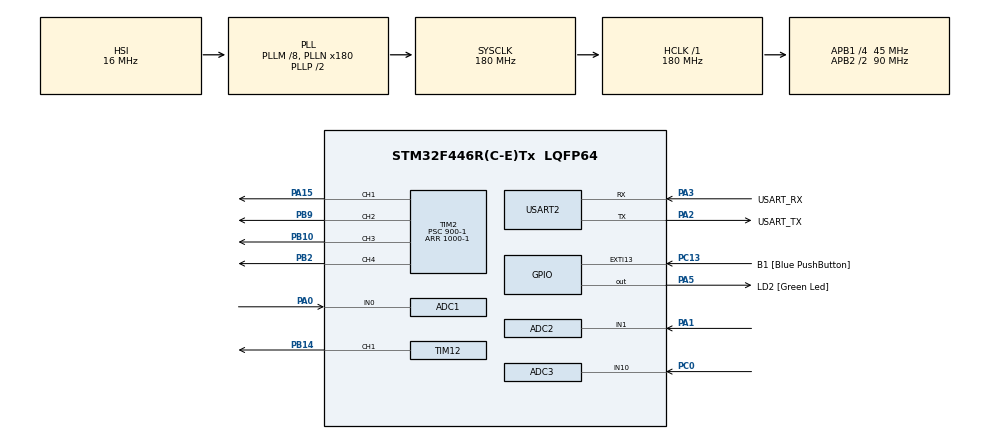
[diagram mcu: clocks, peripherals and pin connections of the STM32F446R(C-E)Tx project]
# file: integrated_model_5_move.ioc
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ADC1.Channel-0\#ChannelRegularConversion=ADC_CHANNEL_0
ADC1.ClockPrescaler=ADC_CLOCK_SYNC_PCLK_DIV4
ADC1.NbrOfConversionFlag=1
ADC1.Rank-0\#ChannelRegularConversion=1
ADC1.SamplingTime-0\#ChannelRegularConversion=ADC_SAMPLETIME_3CYCLES
ADC1.master=1
ADC2.Channel-0\#ChannelRegularConversion=ADC_CHANNEL_1
ADC2.ClockPrescaler=ADC_CLOCK_SYNC_PCLK_DIV4
ADC2.NbrOfConversionFlag=1
ADC2.Rank-0\#ChannelRegularConversion=1
ADC2.SamplingTime-0\#ChannelRegularConversion=ADC_SAMPLETIME_3CYCLES
ADC3.Channel-0\#ChannelRegularConversion=ADC_CHANNEL_10
ADC3.ClockPrescaler=ADC_CLOCK_SYNC_PCLK_DIV4
ADC3.NbrOfConversionFlag=1
ADC3.Rank-0\#ChannelRegularConversion=1
ADC3.SamplingTime-0\#ChannelRegularConversion=ADC_SAMPLETIME_3CYCLES
Mcu.Family=STM32F4
Mcu.Name=STM32F446R(C-E)Tx
Mcu.Package=LQFP64
NVIC.ADC_IRQn=true\:0\:0\:false\:false\:true\:true\:true\:true
NVIC.PriorityGroup=NVIC_PRIORITYGROUP_0
NVIC.TIM1_TRG_COM_TIM11_IRQn=true\:0\:0\:false\:false\:true\:true\:true\:true
NVIC.TIM1_UP_TIM10_IRQn=true\:0\:0\:false\:false\:true\:true\:true\:true
NVIC.TIM2_IRQn=true\:0\:0\:false\:false\:true\:true\:true\:true
NVIC.TIM8_BRK_TIM12_IRQn=true\:0\:0\:false\:false\:true\:true\:true\:true
NVIC.TIM8_TRG_COM_TIM14_IRQn=true\:0\:0\:false\:false\:true\:true\:true\:true
NVIC.TIM8_UP_TIM13_IRQn=true\:0\:0\:false\:false\:true\:true\:true\:true
PA0-WKUP.Signal=ADCx_IN0
PA1.Signal=ADCx_IN1
PA13.GPIO_Label=TMS
PA13.Mode=Serial_Wire
PA13.Signal=SYS_JTMS-SWDIO
PA14.GPIO_Label=TCK
PA14.Mode=Serial_Wire
PA14.Signal=SYS_JTCK-SWCLK
PA15.Signal=S_TIM2_CH1_ETR
PA2.GPIO_Label=USART_TX
PA2.Mode=Asynchronous
PA2.Signal=USART2_TX
PA3.GPIO_Label=USART_RX
PA3.Mode=Asynchronous
PA3.Signal=USART2_RX
PA5.GPIO_Label=LD2 [Green Led]
PA5.Signal=GPIO_Output
PB10.Signal=S_TIM2_CH3
PB14.Signal=S_TIM12_CH1
PB2.Signal=S_TIM2_CH4
PB3.GPIO_Label=SWO
PB3.Signal=SYS_JTDO-SWO
PB9.Signal=S_TIM2_CH2
PC0.Signal=ADCx_IN10
PC13.GPIO_Label=B1 [Blue PushButton]
PC13.GPIO_ModeDefaultEXTI=GPIO_MODE_IT_FALLING
PC13.Signal=GPXTI13
PC14-OSC32_IN.Mode=LSE-External-Oscillator
PC14-OSC32_IN.Signal=RCC_OSC32_IN
PC15-OSC32_OUT.Mode=LSE-External-Oscillator
PC15-OSC32_OUT.Signal=RCC_OSC32_OUT
PH0-OSC_IN.Mode=HSE-External-Oscillator
PH0-OSC_IN.Signal=RCC_OSC_IN
PH1-OSC_OUT.Mode=HSE-External-Oscillator
PH1-OSC_OUT.Signal=RCC_OSC_OUT
ProjectManager.HeapSize=0x800
ProjectManager.StackSize=0x800
ProjectManager.TargetToolchain=STM32CubeIDE
RCC.48MHZClocksFreq_Value=84000000
RCC.AHBFreq_Value=180000000
RCC.APB1CLKDivider=RCC_HCLK_DIV4
RCC.APB1Freq_Value=45000000
RCC.APB1TimFreq_Value=90000000
RCC.APB2CLKDivider=RCC_HCLK_DIV2
RCC.APB2Freq_Value=90000000
RCC.APB2TimFreq_Value=180000000
RCC.CortexFreq_Value=180000000
RCC.FLatency-AdvancedSettings=FLASH_LATENCY_5
RCC.HCLKFreq_Value=180000000
RCC.HSE_VALUE=8000000
RCC.HSI_VALUE=16000000
RCC.PLLM=8
RCC.PLLN=180
RCC.PLLP=2
RCC.SYSCLKFreq_VALUE=180000000
RCC.SYSCLKSource=RCC_SYSCLKSOURCE_PLLCLK
RCC.USBFreq_Value=180000000
RCC.VCOOutputFreq_Value=360000000
SH.ADCx_IN0.0=ADC1_IN0,IN0
SH.ADCx_IN1.0=ADC2_IN1,IN1
SH.ADCx_IN10.0=ADC3_IN10,IN10
SH.S_TIM12_CH1.0=TIM12_CH1,PWM Generation1 CH1
SH.S_TIM2_CH1_ETR.0=TIM2_CH1,PWM Generation1 CH1
SH.S_TIM2_CH2.0=TIM2_CH2,PWM Generation2 CH2
SH.S_TIM2_CH3.0=TIM2_CH3,PWM Generation3 CH3
SH.S_TIM2_CH4.0=TIM2_CH4,PWM Generation4 CH4
STMicroelectronics.X-CUBE-AI.8.0.1.ActivationBufferSizeList=108
STMicroelectronics.X-CUBE-AI.8.0.1.ActivationBuffers=pool0
STMicroelectronics.X-CUBE-AI.8.0.1.ActivationNames=pool0
STMicroelectronics.X-CUBE-AI.8.0.1.ActivationSizes=AI_NETWORK_DATA_ACTIVATION_1_SIZE
STMicroelectronics.X-CUBE-AI.8.0.1.HeapSize=0x800
STMicroelectronics.X-CUBE-AI.8.0.1.InternalRamActivationBufferMaxSize=AI_NETWORK_DATA_ACTIVATIONS_SIZE
STMicroelectronics.X-CUBE-AI.8.0.1.LatestDirectoryUsed-d0ceae4381f5af6d3a112abc9d57ed1af1215f2bdab2fd25595786534e137b8e=F\:\\Graduation Project\\Git_foulder\\5_Movements\\Model
STMicroelectronics.X-CUBE-AI.8.0.1.MaximumNumberOfInputLayer=1
STMicroelectronics.X-CUBE-AI.8.0.1.MaximumNumberOfOutputLayer=1
STMicroelectronics.X-CUBE-AI.8.0.1.MaximumSizeOfInputLayer=1
STMicroelectronics.X-CUBE-AI.8.0.1.MaximumSizeOfOutputLayer=1
STMicroelectronics.X-CUBE-AI.8.0.1.ModelActualCompression-d0ceae4381f5af6d3a112abc9d57ed1af1215f2bdab2fd25595786534e137b8e=0.0
STMicroelectronics.X-CUBE-AI.8.0.1.ModelCompression-d0ceae4381f5af6d3a112abc9d57ed1af1215f2bdab2fd25595786534e137b8e=None
STMicroelectronics.X-CUBE-AI.8.0.1.ModelFlashOccupation-d0ceae4381f5af6d3a112abc9d57ed1af1215f2bdab2fd25595786534e137b8e=32360
STMicroelectronics.X-CUBE-AI.8.0.1.ModelHashList=d0ceae4381f5af6d3a112abc9d57ed1af1215f2bdab2fd25595786534e137b8e
STMicroelectronics.X-CUBE-AI.8.0.1.ModelKind-d0ceae4381f5af6d3a112abc9d57ed1af1215f2bdab2fd25595786534e137b8e=KERAS
STMicroelectronics.X-CUBE-AI.8.0.1.ModelMacc-d0ceae4381f5af6d3a112abc9d57ed1af1215f2bdab2fd25595786534e137b8e=510
STMicroelectronics.X-CUBE-AI.8.0.1.ModelName-d0ceae4381f5af6d3a112abc9d57ed1af1215f2bdab2fd25595786534e137b8e=network
STMicroelectronics.X-CUBE-AI.8.0.1.ModelNameList=network
STMicroelectronics.X-CUBE-AI.8.0.1.ModelRamOccupation-d0ceae4381f5af6d3a112abc9d57ed1af1215f2bdab2fd25595786534e137b8e=108
STMicroelectronics.X-CUBE-AI.8.0.1.ModelStructureFile-d0ceae4381f5af6d3a112abc9d57ed1af1215f2bdab2fd25595786534e137b8e=F\:\\Graduation Project\\Git_foulder\\5_Movements\\Model\\model_11_7_2_5_movement_2.h5
STMicroelectronics.X-CUBE-AI.8.0.1.ModelType-d0ceae4381f5af6d3a112abc9d57ed1af1215f2bdab2fd25595786534e137b8e=Saved model
STMicroelectronics.X-CUBE-AI.8.0.1.ReadyForCodeGeneration=true
STMicroelectronics.X-CUBE-AI.8.0.1.StackSize=0x800
STMicroelectronics.X-CUBE-AI.8.0.1.WorkingBufferStartAddrList=0xFFFFFFFF
STMicroelectronics.X-CUBE-AI.8.0.1.XAaCUBEAaAICcArtificialOoIntelligenceJjCore=true
STMicroelectronics.X-CUBE-AI.8.0.1.copyWeightToRam=false
STMicroelectronics.X-CUBE-AI.8.0.1.copyWeightToRam-d0ceae4381f5af6d3a112abc9d57ed1af1215f2bdab2fd25595786534e137b8e=false
STMicroelectronics.X-CUBE-AI.8.0.1.customLayerConfigEnabled=false
STMicroelectronics.X-CUBE-AI.8.0.1.customLayerConfigEnabled-d0ceae4381f5af6d3a112abc9d57ed1af1215f2bdab2fd25595786534e137b8e=false
STMicroelectronics.X-CUBE-AI.8.0.1.useInputAllocation=true
STMicroelectronics.X-CUBE-AI.8.0.1.useInputAllocation-d0ceae4381f5af6d3a112abc9d57ed1af1215f2bdab2fd25595786534e137b8e=true
STMicroelectronics.X-CUBE-AI.8.0.1.useOutputAllocation=true
STMicroelectronics.X-CUBE-AI.8.0.1.useOutputAllocation-d0ceae4381f5af6d3a112abc9d57ed1af1215f2bdab2fd25595786534e137b8e=true
TIM12.Channel-PWM\ Generation1\ CH1=TIM_CHANNEL_1
TIM12.Period=1000-1
TIM12.Prescaler=900-1
TIM2.Channel-PWM\ Generation1\ CH1=TIM_CHANNEL_1
TIM2.Channel-PWM\ Generation2\ CH2=TIM_CHANNEL_2
TIM2.Channel-PWM\ Generation3\ CH3=TIM_CHANNEL_3
TIM2.Channel-PWM\ Generation4\ CH4=TIM_CHANNEL_4
TIM2.Period=1000-1
TIM2.Prescaler=900-1
USART2.VirtualMode=VM_ASYNC
VP_CRC_VS_CRC.Mode=CRC_Activate
VP_STMicroelectronics.X-CUBE-AI_VS_ArtificialOoIntelligenceJjXAaCUBEAaAI_8.0.1.Mode=ArtificialOoIntelligenceJjXAaCUBEAaAI
VP_TIM10_VS_ClockSourceINT.Mode=Enable_Timer
VP_TIM11_VS_ClockSourceINT.Mode=Enable_Timer
VP_TIM12_VS_ClockSourceINT.Mode=Internal
VP_TIM13_VS_ClockSourceINT.Mode=Enable_Timer
VP_TIM14_VS_ClockSourceINT.Mode=Enable_Timer
VP_TIM2_VS_ClockSourceINT.Mode=Internal
board=NUCLEO-F446RE

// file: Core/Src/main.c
/* USER CODE BEGIN Header */
/**
 **************************
 * @file           : main.c
 * @brief          : Main program body
 **************************
 * @attention
 *
 * Copyright (c) 2023 STMicroelectronics.
 * All rights reserved.
 *
 * This software is licensed under terms that can be found in the LICENSE file
 * in the root directory of this software component.
 * If no LICENSE file comes with this software, it is provided AS-IS.
 *
 **************************
 */
/* USER CODE END Header */
#include "main.h"
#include "adc.h"
#include "crc.h"
#include "tim.h"
#include "usart.h"
#include "gpio.h"

/* USER CODE BEGIN Includes */
#include "PWM.h"
#include "MAPPING.h"
#include "servo.h"
#include "FEAT_EXT.h"
#include "NORM_interface.h"

#include "sensor_readings.h"
#include "app_x-cube-ai.h"

#include <stdio.h>

#include "network.h"
#include "network_data.h"
#include "movements.h"
/* USER CODE END Includes */

/* USER CODE BEGIN PD */
#define Vth 				40

#define MODEL_THRESHOLD		0.5

/* USER CODE END PD */

/* USER CODE BEGIN PV */
uint32_t sensor1;
uint32_t sensor2;
uint32_t sensor3;
uint32_t sensor;
float Fest,Gun,OK,Good,Two,Rest;
float arr[4] = {0};
int32_t Mode = 0;
/* USER CODE END PV */

void SystemClock_Config(void);

/* USER CODE BEGIN 0 */
void HAL_TIM_PeriodElapsedCallback(TIM_HandleTypeDef *htim)
{
	if (htim->Instance == TIM10)
	{
		HAL_GPIO_TogglePin(GPIOA, GPIO_PIN_5);
	}
	else if (htim->Instance == TIM11)
	{
		HAL_GPIO_TogglePin(GPIOA, GPIO_PIN_5);
	}

	else if (htim->Instance == TIM13)
	{
		HAL_GPIO_TogglePin(GPIOA, GPIO_PIN_5);
	}
	else if (htim->Instance == TIM14)
	{
		HAL_GPIO_TogglePin(GPIOA, GPIO_PIN_5);
	}
}

/********	Global Variables	********/
static ai_handle network = AI_HANDLE_NULL;

AI_ALIGNED(32)
static ai_u8 activations[AI_NETWORK_DATA_ACTIVATIONS_SIZE];

AI_ALIGNED(32)
static ai_float in_data[AI_NETWORK_IN_1_SIZE];

AI_ALIGNED(32)
static ai_float out_data[AI_NETWORK_OUT_1_SIZE];

static ai_buffer *ai_input;
static ai_buffer *ai_output;

int Model_Init(void)
{
	ai_error err;
	const ai_handle acts[] = { activations };
	err = ai_network_create_and_init(&network, acts, NULL);

	ai_input = ai_network_inputs_get(network, NULL);
	ai_output = ai_network_outputs_get(network, NULL);

	return 0;
}

int Model_Run(const void *in_data, void *out_data)
{
	ai_i32 n_batch;
	ai_error err;

	/* 1 - Update IO handlers with the data payload */
	ai_input[0].data = AI_HANDLE_PTR(in_data);
	ai_output[0].data = AI_HANDLE_PTR(out_data);

	/* 2 - Perform the inference */
	n_batch = ai_network_run(network, &ai_input[0], &ai_output[0]);
	if (n_batch != 1) {
		err = ai_network_get_error(network);
	};

	return 0;
}
/* USER CODE END 0 */

int main(void)
{
	/* USER CODE BEGIN 1 */
	uint32_t Local_u32Counter,Local_u32_RealData[3][250],Local_u32AvgCounter;

	uint8_t Local_u8Avg = 5;
	uint8_t Local_u8Max,Local_u8ModeArr[Local_u8Avg],Local_u8Sum=0;
	float Feat_f32Arr[3][6] , Norm_f32Arr[3][6];

	/* USER CODE END 1 */

	/* MCU Configuration--------------------------------------------------------*/

	/* Reset of all peripherals, Initializes the Flash interface and the Systick. */
	HAL_Init();

	/* Configure the system clock */
	SystemClock_Config();

	/* Initialize all configured peripherals */
	MX_GPIO_Init();
	MX_USART2_UART_Init();
	MX_ADC1_Init();
	MX_ADC2_Init();
	MX_ADC3_Init();
	MX_CRC_Init();
	MX_TIM2_Init();
	MX_TIM10_Init();
	MX_TIM11_Init();
	MX_TIM12_Init();
	MX_TIM13_Init();
	MX_TIM14_Init();
	/* USER CODE BEGIN 2 */
	Model_Init();

	/* Start GPs Timers */
	HAL_TIM_Base_Start_IT(&htim10);
	HAL_TIM_Base_Start_IT(&htim11);
	HAL_TIM_Base_Start_IT(&htim13);
	HAL_TIM_Base_Start_IT(&htim14);

	/* Initialize PWM Timers*/
	HAL_TIM_PWM_Start(&htim2, TIM_CHANNEL_1);
	HAL_TIM_PWM_Start(&htim2, TIM_CHANNEL_2);
	HAL_TIM_PWM_Start(&htim2, TIM_CHANNEL_3);
	HAL_TIM_PWM_Start(&htim2, TIM_CHANNEL_4);
	HAL_TIM_PWM_Start(&htim12, TIM_CHANNEL_1);

	//	SERVO_t Servo1,Servo2,Servo3,Servo4,Servo5;
	//	Servo1.Pin = Servo_PA15;
	//	Servo2.Pin = Servo_PB10;
	//	Servo3.Pin = Servo_PB14;
	//	Servo4.Pin = Servo_PB2;
	//	Servo5.Pin = Servo_PB9;
	init_servo();
	/*********	Testing	*********/
	uint32_t Move2[250] = {0};
	uint32_t Move1[250] = {
			664,  167,   13,   82,  340,  865,  469,  663,  144,  316,   15,
			356,  513,  560,  258,  108,  409,  456,  110,  383,  240,  227,
			314,  866, 1667,  156,  419,  760,   32,  441,  432,  307,  294,
			169,  234,  436,  703,  391,   82,  345,  100,  131,   58,  362,
			222,  323,   47,   41,   40,  273,  141,  405,  805,  471,  468,
			11,  127,  344,  178,  107,    5,  329,   80,   46,  190,    5,
			411,   64,   65,  180,  133,  367,  590,  196,   61,   11,  170,
			144,  454,  460,  188,  431,  112,  375,  208,  198,  139,    2,
			131,   52,   39,  155,   38,  137,  289,  535,  144,  305,  387,
			163, 1396,   43,  178,  219,  563,  268,  846,   62,  224,   37,
			318,  126,  535,  126,  221,  123,   41,    4,  100,  156,  514,
			145,  116,  159,   29,  171,   39,   66,  182,  332,   63,   85,
			7,  112,   58,   81,  130,  192,  198,  609,   57,  108,   15,
			106,  111,   92,   55,  100,  207,   88,  228,  254,   98,  250,
			63,    4,   80,  271,  228,   11,    1,   71,   95,   15,  656,
			275,  164,  150,  729,   85,   54,   71,   44,   34,   93,  220,
			86,  309,  428,   39,  285,  440,   86,  203,  254,   79,  156,
			12,  582,  275,  235,  481,   99,  190,    2,   93,  176,   96,
			250,  333,  269,   94,  346,  757,   43,  475,  179,  474,  198,
			227,  353,  159,   27,  233,   95,  407,  248,  152,  249,   68,
			276,   79,    5,  217,   95,   29,    8,  104,   20,  156,  189,
			146,   93,  125,   96,    5,  160,   51, 1495, 1831,   71,  599,
			181,  250,  219,  246,   47,  213,   23,  225
	};

	uint32_t Move0[SENSOR_NUM][250] = {
			{    0,    0,    0,    0,   42,    0,    0,    0,    0,    0,    0,
					0,    0,  185,    0,    0,    0,    0,   83,    0,  100,  411,
					0,    0,  616,  500,  147,    0,    0,   65,    0,    0,    0,
					0,    0,   21,   78,    0,    0,  790,  128,    0,    0,    0,
					322,  379,    0,    0,    0,    0,  577,  204,    0,    0,    0,
					0,  319,    0,    0,    0,    0,    0,    0,    0,    0,  293,
					0,    0,    0,    0,   53,    0,    0,    0,    0,   34,    0,
					26,    0,    0,  165,  123,    0,    0,    0,   57,  127,    0,
					0,    0,    0,    0,    0,    0,    0,  254,    0,    0,   74,
					0,    0,  216,    0,    0,    0,  272,    0,    0,    0,    0,
					0,    0,    0,    0,  303,  333,    0,    0,    0,    0,    0,
					0,    0,   53,    0,    0,    0,    0,   86,    0,    0,    0,
					0,    0,    0,  243,    0,    0,  149,    0,    0,    0,    0,
					16,    0,    0,  514,  248,   15,    0,    0,  219,   54,    0,
					0,    0,    0,    0,    0,    0,    0,    0,    0,    0,  181,
					155,    0,    0,  402,    0,  103,    0,    0,    0,    0,    0,
					0,    0,   30,  621,    0,    0,    0,  242,  419,   62,    0,
					55,    0,    0, 1211,  128,  571,  363,    0,    0,    0,    0,
					98,  327,    0,    0,    0,    0,    0,    0,    0,    0,    0,
					0,    0,   52,    0,    0,    0,    0,    0,  120,   84,    0,
					0,   25,    0,  552,  494,    0,    0,  410,  299,  419,    0,
					0,    0,    0,  448,  321,    0,    0,    0,    0,   38,    0,
					24,    0,    0,    0,   55,   47,    0,   86},
					{  0.,    0.,  192.,    0.,  309.,  566.,  631.,  238.,    0.,
							0.,  202.,    5.,  175.,    0.,    0.,    0.,  172.,    0.,
							0.,  106.,    0.,   71.,    0.,    0.,    0.,  105.,  650.,
							3.,    0.,   24.,    0.,  134.,    0.,    0.,  306.,    0.,
							81.,   39.,    0.,    0.,   55.,    0.,    0.,    0.,    0.,
							10.,    0.,    0.,    0.,   13.,  582.,  235.,    0.,    0.,
							101.,    0.,    0.,    0.,    0.,  377.,  112.,  312.,    0.,
							0.,    0.,  494.,   34.,    0.,    0.,  228.,    0.,    0.,
							349.,    0.,  128.,   68.,  301.,  178.,    0.,  343.,    0.,
							489.,  581.,    0.,  261.,  229.,  212.,  408.,    0.,  248.,
							504.,    0.,    0.,    0.,    0.,  168.,    0.,    0.,    0.,
							0.,  156.,    0.,    0.,   82.,    9.,   46.,    0.,    0.,
							0.,    0.,   52.,    0.,    0.,    0.,   65.,  168.,  108.,
							0.,   13.,    0.,    0.,   11.,  208.,  145.,    0.,    0.,
							0.,  176.,  427.,  204.,    0.,    0.,   73.,  130.,   34.,
							108.,    0.,  362.,   24.,    0.,    0.,    0.,  225.,   91.,
							0.,    0.,  770.,  301.,    0.,    0.,    0.,  490.,   24.,
							149.,    0.,    0.,  351.,  151.,    0.,  331.,  228.,    0.,
							22.,   16.,    0.,  355.,    0.,    0.,  133.,  242.,   36.,
							0.,    0.,   92.,  408.,   80.,    0.,    0.,  286.,  284.,
							0.,    0.,    0.,  361.,    4.,  364.,    0.,  143.,    0.,
							0.,  139.,  606.,  412.,  277.,  979.,    0.,    0.,   17.,
							0., 1165.,    0.,   97.,   81.,   29.,  250.,    0.,  560.,
							0.,    0.,    0.,    0.,  181.,    0.,    0.,    0.,  112.,
							226.,  657.,    0.,    0.,    0.,  791.,  283., 1183., 1460.,
							0.,    0.,  314., 1105.,  723.,   72.,    0.,    0.,    0.,
							579.,  594.,    0.,    0.,    0.,  103.,    0.,  138.,    0.,
							0.,    0.,  173.,  181.,  368.,   64.,  125.},
							{   2, 2343,  198,  757,  359,  553,  152,    0,    0,  292,  896,
									113,   53,    0,  226,  185,   31,  472,  422,    0,   32,   15,
									172,    0,  463,  535, 1535,   45,   52,   93,   59,  330,   94,
									180,   47,   29,   21,  149,    0,    5,  103,  200,  105,    1,
									70,  346,   54,  179,  782,  162,    0,   37,   10,   52,    0,
									289,   78,   95,    0,   42,   97,  216,  184,   76,  195,  269,
									16,    0,  120,  283,  717,   58,  213,   16,    1,   17,  507,
									1081,   92,  368,  173,    0,  745,    5,   30,   12,  650,  281,
									74,   83,    0,    9,   82,    0,  161,   18,    0,   68,  404,
									18,  392,  243,  454,  456,  147,    4,    0,   10,  362,    0,
									268,  228,    2,   60,    0,   11,  579,  180,  193,    0,    4,
									212,    3,  328,   39,  119,  183,   59,   87,   91,    7,  243,
									190,    0,   10,   85,   12,   37,   50,    5,  536,  116,  439,
									66,  158,   14,  141,   98,  335,  129,  481,   83,  215,   53,
									7,   44,  423,   26,  198,    0,  202,   14,   10,   45,  442,
									325,   33,  265,    6,   90,   11,  850,   64,  386,  188,  196,
									0,   19,   17,   93,    1,    1,  231,    0,   87,  209,   36,
									89,   13,  375,  212,  260,   17,    1,  157,   15,  739,  406,
									211,  250,  357,  149,   90,   32,   27,  146,    1,   44,    0,
									25,  246,    0,    0,    6,  566,   17,    0,  217,  239,    0,
									10,   12,  294,  685,  207,  107,  167,  146,    1,   37,  109,
									408,  283,  144,  310,   40,    2,    0,   81,   20,   57,   60,
									90,    0,  167,  318,  569,   72,    4,   49}};

	FEAT_EXT_f32_AllFeat(Move0 ,*Feat_f32Arr);
	NORM_f32_AllNorm(*Feat_f32Arr, *Norm_f32Arr);

	/*Model Running*/

	float Local_f32KoftaFeat[18],Local_f32KoftaNorm[18];

	//	Local_f32KoftaFeat[VAR_IDX ] = FEAT_EXT_f32_Variance(Move0[0],DATA_SIZE);
	//	Local_f32KoftaFeat[RMS_IDX ] = FEAT_EXT_f32_RMS(Local_f32KoftaFeat[VAR_IDX]);
	//	Local_f32KoftaFeat[MEAN_IDX] = FEAT_EXT_f32_Mean(Move0[0],DATA_SIZE);
	//	Local_f32KoftaFeat[SSC_IDX] = FEAT_EXT_u32_SlopeSignChange(Move0[0],DATA_SIZE);
	//	Local_f32KoftaFeat[ZC_IDX  ] = FEAT_EXT_u32_ZeroCrossing(Move0[0],DATA_SIZE) ;
	//	Local_f32KoftaFeat[WVL_IDX ] = FEAT_EXT_u32_WaveformLength(Move0[0],DATA_SIZE);
	//
	//	Local_f32KoftaFeat[VAR_IDX+6] = FEAT_EXT_f32_Variance(Move0[1],DATA_SIZE);
	//	Local_f32KoftaFeat[RMS_IDX+6] = FEAT_EXT_f32_RMS(Local_f32KoftaFeat[VAR_IDX+6]);
	//	Local_f32KoftaFeat[MEAN_IDX+6] = FEAT_EXT_f32_Mean(Move0[1],DATA_SIZE);
	//	Local_f32KoftaFeat[SSC_IDX+6] = FEAT_EXT_u32_SlopeSignChange(Move0[1],DATA_SIZE);
	//	Local_f32KoftaFeat[ZC_IDX+6] = FEAT_EXT_u32_ZeroCrossing(Move0[1],DATA_SIZE) ;
	//	Local_f32KoftaFeat[WVL_IDX+6] = FEAT_EXT_u32_WaveformLength(Move0[1],DATA_SIZE);
	//
	//
	//	Local_f32KoftaFeat[VAR_IDX+12] = FEAT_EXT_f32_Variance(Move0[2],DATA_SIZE);
	//	Local_f32KoftaFeat[RMS_IDX+12] = FEAT_EXT_f32_RMS(Local_f32KoftaFeat[VAR_IDX+12]);
	//	Local_f32KoftaFeat[MEAN_IDX+12] = FEAT_EXT_f32_Mean(Move0[2],DATA_SIZE);
	//	Local_f32KoftaFeat[SSC_IDX+12] = FEAT_EXT_u32_SlopeSignChange(Move0[2],DATA_SIZE);
	//	Local_f32KoftaFeat[ZC_IDX+12] = FEAT_EXT_u32_ZeroCrossing(Move0[2],DATA_SIZE) ;
	//	Local_f32KoftaFeat[WVL_IDX+12] = FEAT_EXT_u32_WaveformLength(Move0[2],DATA_SIZE);
	//
	//	Local_f32KoftaNorm[VAR_IDX ] = NORM_f32_Variance(SNS1, Local_f32KoftaFeat[VAR_IDX]);
	//	Local_f32KoftaNorm[RMS_IDX ] = NORM_f32_RMS(SNS1, Local_f32KoftaFeat[RMS_IDX]);
	//	Local_f32KoftaNorm[MEAN_IDX] = NORM_f32_Mean(SNS1, Local_f32KoftaFeat[MEAN_IDX]);
	//	Local_f32KoftaNorm[SSC_IDX]  = NORM_f32_SlopeSignChange(SNS1, Local_f32KoftaFeat[SSC_IDX]);
	//	Local_f32KoftaNorm[ZC_IDX  ] = NORM_f32_ZeroCrossing(SNS1, Local_f32KoftaFeat[ZC_IDX]);
	//	Local_f32KoftaNorm[WVL_IDX ] = NORM_f32_WaveformLength(SNS1, Local_f32KoftaFeat[WVL_IDX]);
	//
	//
	//
	//	Local_f32KoftaNorm[VAR_IDX+6] = NORM_f32_Variance(SNS2, Local_f32KoftaFeat[VAR_IDX+6]);
	//	Local_f32KoftaNorm[RMS_IDX+6] = NORM_f32_RMS(SNS2, Local_f32KoftaFeat[RMS_IDX+6]);
	//	Local_f32KoftaNorm[MEAN_IDX+6] = NORM_f32_Mean(SNS2, Local_f32KoftaFeat[MEAN_IDX+6]);
	//	Local_f32KoftaNorm[SSC_IDX+6]  = NORM_f32_SlopeSignChange(SNS2, Local_f32KoftaFeat[SSC_IDX+6]);
	//	Local_f32KoftaNorm[ZC_IDX+6] = NORM_f32_ZeroCrossing(SNS2, Local_f32KoftaFeat[ZC_IDX+6]);
	//	Local_f32KoftaNorm[WVL_IDX+6] = NORM_f32_WaveformLength(SNS2, Local_f32KoftaFeat[WVL_IDX+6]);
	//
	//
	//	Local_f32KoftaNorm[VAR_IDX+12] = NORM_f32_Variance(SNS2, Local_f32KoftaFeat[VAR_IDX+12]);
	//	Local_f32KoftaNorm[RMS_IDX+12] = NORM_f32_RMS(SNS3, Local_f32KoftaFeat[RMS_IDX+12]);
	//	Local_f32KoftaNorm[MEAN_IDX+12] = NORM_f32_Mean(SNS3, Local_f32KoftaFeat[MEAN_IDX+12]);
	//	Local_f32KoftaNorm[SSC_IDX+12]  = NORM_f32_SlopeSignChange(SNS3, Local_f32KoftaFeat[SSC_IDX+12]);
	//	Local_f32KoftaNorm[ZC_IDX+12] = NORM_f32_ZeroCrossing(SNS3, Local_f32KoftaFeat[ZC_IDX+12]);
	//	Local_f32KoftaNorm[WVL_IDX+12] = NORM_f32_WaveformLength(SNS3, Local_f32KoftaFeat[WVL_IDX+12]);
	//
	//	/*Movement 1 Data*/
	//	in_data[RMS_IDX]  	= Local_f32KoftaNorm[RMS_IDX];
	//	in_data[MEAN_IDX] 	= Local_f32KoftaNorm[MEAN_IDX];
	//	in_data[VAR_IDX]  	= Local_f32KoftaNorm[VAR_IDX];
	//	in_data[SSC_IDX] 	= Local_f32KoftaNorm[SSC_IDX];
	//	in_data[ZC_IDX]   	= Local_f32KoftaNorm[ZC_IDX];
	//	in_data[WVL_IDX]  	= Local_f32KoftaNorm[WVL_IDX];
	//
	//	in_data[RMS_IDX+6]  = Local_f32KoftaNorm[RMS_IDX+6];
	//	in_data[VAR_IDX+6]  = Local_f32KoftaNorm[VAR_IDX+6];
	//	in_data[MEAN_IDX+6] = Local_f32KoftaNorm[MEAN_IDX+6];
	//	in_data[SSC_IDX+6] 	= Local_f32KoftaNorm[SSC_IDX+6];
	//	in_data[ZC_IDX+6]   = Local_f32KoftaNorm[ZC_IDX+6];
	//	in_data[WVL_IDX+6]  = Local_f32KoftaNorm[WVL_IDX+6];
	//
	//	in_data[RMS_IDX+12]  = Local_f32KoftaNorm[RMS_IDX+12];
	//	in_data[VAR_IDX+12]  = Local_f32KoftaNorm[VAR_IDX+12];
	//	in_data[MEAN_IDX+12] = Local_f32KoftaNorm[MEAN_IDX+12];
	//	in_data[SSC_IDX+12]  = Local_f32KoftaNorm[SSC_IDX+12];
	//	in_data[ZC_IDX+12]   = Local_f32KoftaNorm[ZC_IDX+12];
	//	in_data[WVL_IDX+12]  = Local_f32KoftaNorm[WVL_IDX+12];

	in_data[RMS_IDX]  	= Norm_f32Arr[0][RMS_IDX];
	in_data[VAR_IDX]  	= Norm_f32Arr[0][VAR_IDX];
	in_data[MEAN_IDX] 	= Norm_f32Arr[0][MEAN_IDX];
	in_data[SSC_IDX] 	= Norm_f32Arr[0][SSC_IDX];
	in_data[ZC_IDX]   	= Norm_f32Arr[0][ZC_IDX];
	in_data[WVL_IDX]  	= Norm_f32Arr[0][WVL_IDX];

	in_data[RMS_IDX+6]  =  Norm_f32Arr[1][RMS_IDX];
	in_data[VAR_IDX+6]  =  Norm_f32Arr[1][VAR_IDX];
	in_data[MEAN_IDX+6] =  Norm_f32Arr[1][MEAN_IDX];
	in_data[SSC_IDX+6] 	=  Norm_f32Arr[1][SSC_IDX];
	in_data[ZC_IDX+6]   =  Norm_f32Arr[1][ZC_IDX];
	in_data[WVL_IDX+6]  =  Norm_f32Arr[1][WVL_IDX];
	//
	//	in_data[RMS_IDX+12]  = Norm_f32Arr[2][RMS_IDX];
	//	in_data[VAR_IDX+12]  = Norm_f32Arr[2][VAR_IDX];

	//	in_data[MEAN_IDX+12] = Norm_f32Arr[2][MEAN_IDX];
	//	in_data[SSC_IDX+12]  = Norm_f32Arr[2][SSC_IDX];
	//	in_data[ZC_IDX+12]   = Norm_f32Arr[2][ZC_IDX];
	//	in_data[WVL_IDX+12]  = Norm_f32Arr[2][WVL_IDX];

	Model_Run(in_data, out_data);
	//
	//	Local_u8Max = 0;
	//	for(int i = 0 ;i < 5; i++)
	//	{
	//		if(out_data[i] > out_data[Local_u8Max])
	//		{
	//			Local_u8Max = i;
	//		}
	//	}

	/* USER CODE END 2 */

	/* Infinite loop */
	while (1)
	{

		/* USER CODE BEGIN 3 */
		for(Local_u32Counter = 0 ;Local_u32Counter < DATA_SIZE ;)
		{

			sensor1 =  analogRead(&hadc1);
			sensor2 =  analogRead(&hadc2);
			//			sensor3 =  analogRead(&hadc3);
			//			if((sensor1 != 0) && (sensor2 != 0)/* && (sensor3 != 0)*/)
			//			{

			Local_u32_RealData[SNS1][Local_u32Counter] = sensor1;
			Local_u32_RealData[SNS2][Local_u32Counter] = sensor2;
			Local_u32_RealData[SNS3][Local_u32Counter] = 0;
			Local_u32Counter++;
			//			}

			HAL_Delay(2);
		}

		FEAT_EXT_f32_AllFeat(Local_u32_RealData,*Feat_f32Arr);
		NORM_f32_AllNorm(*Feat_f32Arr, *Norm_f32Arr);

		in_data[RMS_IDX]  	= Norm_f32Arr[0][RMS_IDX];
		in_data[VAR_IDX]  	= Norm_f32Arr[0][VAR_IDX];
		in_data[MEAN_IDX] 	= Norm_f32Arr[0][MEAN_IDX];
		in_data[SSC_IDX] 	= Norm_f32Arr[0][SSC_IDX];
		in_data[ZC_IDX]   	= Norm_f32Arr[0][ZC_IDX];
		in_data[WVL_IDX]  	= Norm_f32Arr[0][WVL_IDX];

		in_data[RMS_IDX+6]  =  Norm_f32Arr[1][RMS_IDX];
		in_data[VAR_IDX+6]  =  Norm_f32Arr[1][VAR_IDX];
		in_data[MEAN_IDX+6] =  Norm_f32Arr[1][MEAN_IDX];
		in_data[SSC_IDX+6] 	=  Norm_f32Arr[1][SSC_IDX];
		in_data[ZC_IDX+6]   =  Norm_f32Arr[1][ZC_IDX];
		in_data[WVL_IDX+6]  =  Norm_f32Arr[1][WVL_IDX];
		//
		//		in_data[RMS_IDX+12]  = Norm_f32Arr[2][RMS_IDX];
		//		in_data[VAR_IDX+12]  = Norm_f32Arr[2][VAR_IDX];
		//		in_data[MEAN_IDX+12] = Norm_f32Arr[2][MEAN_IDX];
		//		in_data[SSC_IDX+12]  = Norm_f32Arr[2][SSC_IDX];
		//		in_data[ZC_IDX+12]   = Norm_f32Arr[2][ZC_IDX];
		//		in_data[WVL_IDX+12]  = Norm_f32Arr[2][WVL_IDX];

		Model_Run(in_data, out_data);
		for(int i = 0 ;i < 4; i++)
		{
			if(out_data[i] > out_data[Local_u8Max])
			{
				Local_u8Max = i;
			}
		}

		Two  = out_data[0];
		OK   = out_data[1];
		Fest = out_data[2];
		Good = out_data[3];
		Rest = out_data[4];

		if(Local_u8Max == 0)
		{
			//			Gun = 100;
			//			Fest = 0;
			//			Two  = 0;
			//			Rest = 0;

			two();
		}
		else if(Local_u8Max == 1)
		{
			//			Fest = 0;
			//			Gun = 0;
			//			OK = 0;
			//			Good = 0;
			//			Two = 100;
			//			Rest = 0;
			ok();
		}

		else if (Local_u8Max == 2)
		{
			//			Fest = 100;
			//			Gun = 0;
			//			OK = 0;
			//			Two = 0;
			//			Rest = 0;
			fest();
		}
		else if (Local_u8Max == 3)
		{
			//			Fest = 0;
			//			Gun  = 0;
			//			Two  = 0;
			//			Rest = 100;
			good();

		}
		else if (Local_u8Max == 4)
		{
			//			Fest = 100;
			//			Gun = 0;
			//			OK = 0;
			//			Good = 0;
			//			Two = 0;
			rest();
		}

		Mode = Local_u8Max;
		HAL_Delay(500);
		Mode = 0;
		Local_u8Max = 0;

	}

	/* USER CODE END 3 */
}

void SystemClock_Config(void)
{
	RCC_OscInitTypeDef RCC_OscInitStruct = {0};
	RCC_ClkInitTypeDef RCC_ClkInitStruct = {0};

	/** Configure the main internal regulator output voltage
	 */
	__HAL_RCC_PWR_CLK_ENABLE();
	__HAL_PWR_VOLTAGESCALING_CONFIG(PWR_REGULATOR_VOLTAGE_SCALE1);

	/** Initializes the RCC Oscillators according to the specified parameters
	 * in the RCC_OscInitTypeDef structure.
	 */
	RCC_OscInitStruct.OscillatorType = RCC_OSCILLATORTYPE_HSI;
	RCC_OscInitStruct.HSIState = RCC_HSI_ON;
	RCC_OscInitStruct.HSICalibrationValue = RCC_HSICALIBRATION_DEFAULT;
	RCC_OscInitStruct.PLL.PLLState = RCC_PLL_ON;
	RCC_OscInitStruct.PLL.PLLSource = RCC_PLLSOURCE_HSI;
	RCC_OscInitStruct.PLL.PLLM = 8;
	RCC_OscInitStruct.PLL.PLLN = 180;
	RCC_OscInitStruct.PLL.PLLP = 2;
	RCC_OscInitStruct.PLL.PLLQ = 2;
	RCC_OscInitStruct.PLL.PLLR = 2;
	if (HAL_RCC_OscConfig(&RCC_OscInitStruct) != HAL_OK)
	{
		Error_Handler();
	}

	/** Activate the Over-Drive mode
	 */
	if (HAL_PWREx_EnableOverDrive() != HAL_OK)
	{
		Error_Handler();
	}

	/** Initializes the CPU, AHB and APB buses clocks
	 */
	RCC_ClkInitStruct.ClockType = RCC_CLOCKTYPE_HCLK|RCC_CLOCKTYPE_SYSCLK
			|RCC_CLOCKTYPE_PCLK1|RCC_CLOCKTYPE_PCLK2;
	RCC_ClkInitStruct.SYSCLKSource = RCC_SYSCLKSOURCE_PLLCLK;
	RCC_ClkInitStruct.AHBCLKDivider = RCC_SYSCLK_DIV1;
	RCC_ClkInitStruct.APB1CLKDivider = RCC_HCLK_DIV4;
	RCC_ClkInitStruct.APB2CLKDivider = RCC_HCLK_DIV2;

	if (HAL_RCC_ClockConfig(&RCC_ClkInitStruct, FLASH_LATENCY_5) != HAL_OK)
	{
		Error_Handler();
	}
}

void Error_Handler(void)
{
	__disable_irq();
	while (1)
	{
	}
}
